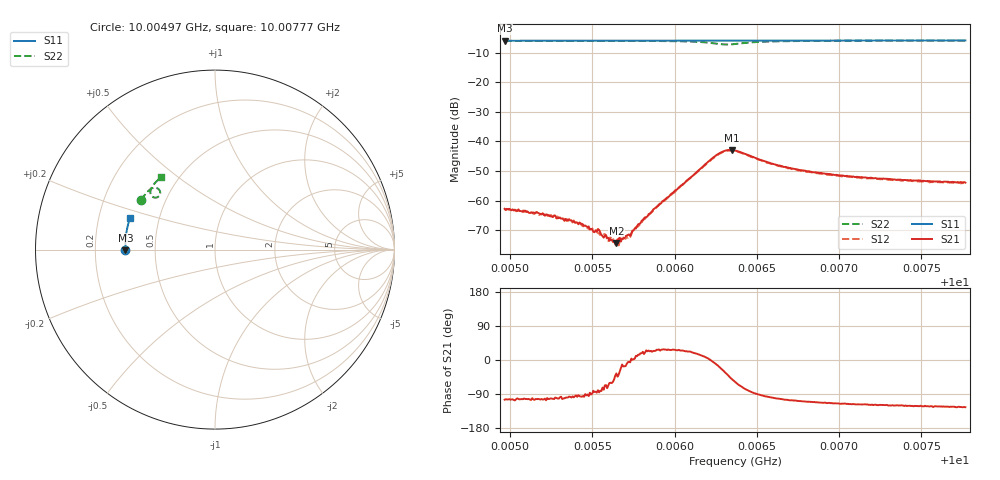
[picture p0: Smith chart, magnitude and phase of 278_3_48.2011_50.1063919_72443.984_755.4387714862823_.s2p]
#  HZ  S  RI  R  50.00
! Rohde & Schwarz Vector Network Analyzer
! Rohde-Schwarz,ZNB20-2Port,1311601062101988,3.16
! Created: UTC 3/20/2024, 11:48:34 AM
! freq[Hz]  re:S11  im:S11  re:S21  im:S21  re:S12  im:S12  re:S22  im:S22
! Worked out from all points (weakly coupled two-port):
!   401 points, 10.00497 GHz to 10.00777 GHz, reference 50 ohm
!   highest |S21| = -42.89 dB at 10.00635 GHz (marker M1); lowest = -74.2 dB at 10.00565 GHz (marker M2)
!   lowest |S11| = -6.0 dB at 10.00497 GHz (marker M3), VSWR 3.00, Z = 16.7 - j0.191 ohm
!   |S11| at or under -10 dB: nowhere
!   |S22| runs from -7.3 to -6.0 dB; largest |S21 - S12| = 0.00042
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1.0004966e10  -0.4994 -0.0043  -0.000186 -0.000707  -0.000103 -0.00071  -0.4103 0.2759
1.0005162e10  -0.4999 0.00837  -0.000147 -0.000623  -8.61e-05 -0.000631  -0.4031 0.2876
1.0005253e10  -0.4999 0.0144  -0.000113 -0.000526  -0.000101 -0.000547  -0.3994 0.293
1.0005435e10  -0.4999 0.0262  -4.92e-05 -0.000406  -1.57e-05 -0.000382  -0.3917 0.3039
1.0005498e10  -0.4996 0.0302  5.14e-06 -0.000329  4.6e-06 -0.000333  -0.3888 0.3077
1.0005533e10  -0.4997 0.0324  5.9e-05 -0.000329  6.96e-05 -0.000276  -0.3873 0.3099
1.0005561e10  -0.4995 0.0344  7.47e-05 -0.000242  7.42e-05 -0.000247  -0.3858 0.3116
1.0005603e10  -0.4994 0.0371  0.000103 -0.000183  0.000104 -0.000219  -0.3837 0.3142
1.0005617e10  -0.4994 0.0379  0.000106 -0.00019  0.000136 -0.000176  -0.383 0.315
1.0005645e10  -0.4993 0.0398  0.000158 -0.000113  0.00014 -9.76e-05  -0.3814 0.3167
1.000568e10  -0.4991 0.042  0.000227 -4.8e-05  0.000222 -7.42e-05  -0.3797 0.319
1.0005722e10  -0.4992 0.0447  0.000269 -2.46e-05  0.000251 -2.32e-05  -0.3772 0.3217
1.0005757e10  -0.4988 0.0472  0.00034 2.23e-05  0.000328 3.81e-05  -0.375 0.3238
1.0005904e10  -0.4982 0.0566  0.000762 0.000401  0.000719 0.000434  -0.3644 0.3335
1.0006241e10  -0.4955 0.0783  0.00547 -0.000698  0.00534 -0.000414  -0.3083 0.3291
1.0006297e10  -0.4948 0.0814  0.00601 -0.00324  0.00601 -0.00293  -0.3069 0.3061
1.0006346e10  -0.4945 0.0844  0.00463 -0.00547  0.0048 -0.00508  -0.3226 0.2911
1.0006367e10  -0.4944 0.0857  0.00375 -0.00594  0.00393 -0.00561  -0.3312 0.2894
1.0006598e10  -0.4926 0.1005  -0.000734 -0.00412  -0.000512 -0.00409  -0.3597 0.3276
1.0006836e10  -0.4898 0.1157  -0.00109 -0.00283  -0.000949 -0.00285  -0.3496 0.3515
1.0007305e10  -0.4829 0.1452  -0.00115 -0.002  -0.000997 -0.00202  -0.3261 0.38
1.0007768e10  -0.4744 0.1736  -0.00114 -0.00166  -0.00105 -0.00168  -0.3025 0.4021
